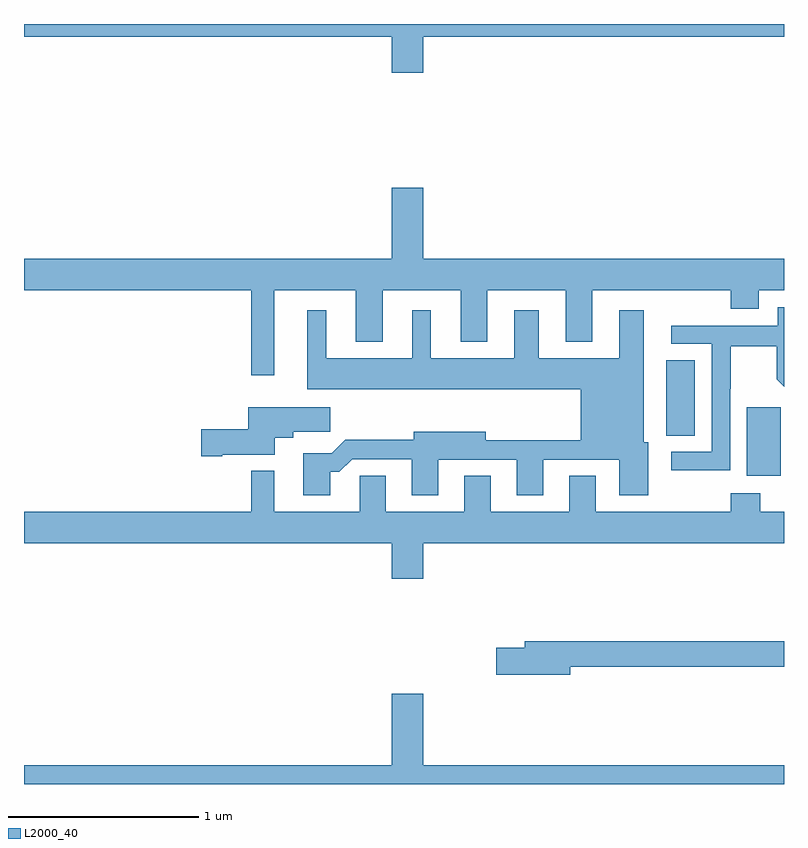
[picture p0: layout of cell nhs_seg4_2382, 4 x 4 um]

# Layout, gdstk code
import gdstk
lib = gdstk.Library(unit=1e-6, precision=1e-09)
def R(c, l, rs):  # rectangles x0, y0, x1, y1
    for r in rs: c.add(gdstk.rectangle(r[:2], r[2:], *l))
def P(c, l, *ps):  # polygons
    for p in ps: c.add(gdstk.Polygon(p, *l))
L2000_40 = (2000, 40)

nhs_seg4_2382 = lib.new_cell('nhs_seg4_2382')
R(nhs_seg4_2382, L2000_40, [(238.805,782.522,238.984,782.883), (238.379,782.734,238.531,783.131)])
P(nhs_seg4_2382, L2000_40, [(237.1,784.832),(239,784.832),(239,784.9),(235,784.9),(235,784.832),(236.936,784.832),(236.936,784.644),(237.1,784.644)],
  [(236.317,783.5),(236.747,783.5),(236.747,783.227),(236.887,783.227),(236.887,783.5),(237.299,783.5),(237.299,783.227),(237.439,783.227),(237.439,783.5),(237.851,783.5),(237.851,783.227),(237.991,783.227),(237.991,783.5),(238.72,783.5),(238.72,783.401),(238.867,783.401),(238.867,783.5),(239,783.5),(239,783.664),(237.1,783.664),(237.1,784.039),(236.936,784.039),(236.936,783.664),(235,783.664),(235,783.5),(236.196,783.5),(236.196,783.051),(236.317,783.051)],
  [(238.716,782.98),(238.719,782.98),(238.719,783.204),(238.963,783.204),(238.963,783.029),(239,782.992),(239,783.409),(238.968,783.409),(238.968,783.312),(238.407,783.312),(238.407,783.216),(238.62,783.216),(238.62,782.649),(238.407,782.649),(238.407,782.551),(238.716,782.551)],
  [(236.611,782.543),(236.66,782.543),(236.727,782.61),(237.041,782.61),(237.041,782.421),(237.181,782.421),(237.181,782.607),(237.593,782.607),(237.593,782.421),(237.733,782.421),(237.733,782.607),(238.133,782.607),(238.133,782.421),(238.285,782.421),(238.285,782.7),(238.261,782.7),(238.261,783.394),(238.133,783.394),(238.133,783.142),(237.709,783.142),(237.709,783.394),(237.581,783.394),(237.581,783.142),(237.142,783.142),(237.142,783.394),(237.044,783.394),(237.044,783.142),(236.59,783.142),(236.59,783.394),(236.492,783.394),(236.492,782.978),(237.929,782.978),(237.929,782.708),(237.43,782.708),(237.43,782.755),(237.05,782.755),(237.05,782.711),(236.69,782.711),(236.62,782.641),(236.471,782.641),(236.471,782.421),(236.611,782.421)],
  [(236.044,782.633),(236.32,782.633),(236.32,782.723),(236.416,782.723),(236.416,782.755),(236.611,782.755),(236.611,782.884),(236.18,782.884),(236.18,782.768),(235.932,782.768),(235.932,782.626),(236.044,782.626)],
  [(239,782.332),(238.875,782.332),(238.875,782.431),(238.72,782.431),(238.72,782.332),(238.009,782.332),(238.009,782.522),(237.869,782.522),(237.869,782.332),(237.457,782.332),(237.457,782.522),(237.317,782.522),(237.317,782.332),(236.905,782.332),(236.905,782.522),(236.766,782.522),(236.766,782.332),(236.317,782.332),(236.317,782.548),(236.196,782.548),(236.196,782.332),(235,782.332),(235,782.168),(236.936,782.168),(236.936,781.98),(237.1,781.98),(237.1,782.168),(239,782.168)],
  [(237.874,781.516),(239,781.516),(239,781.652),(237.635,781.652),(237.635,781.616),(237.486,781.616),(237.486,781.474),(237.874,781.474)],
  [(239,781),(237.1,781),(237.1,781.375),(236.936,781.375),(236.936,781),(235,781),(235,780.9),(239,780.9)])

lib.write_gds('nhs_seg4_2382.gds')
